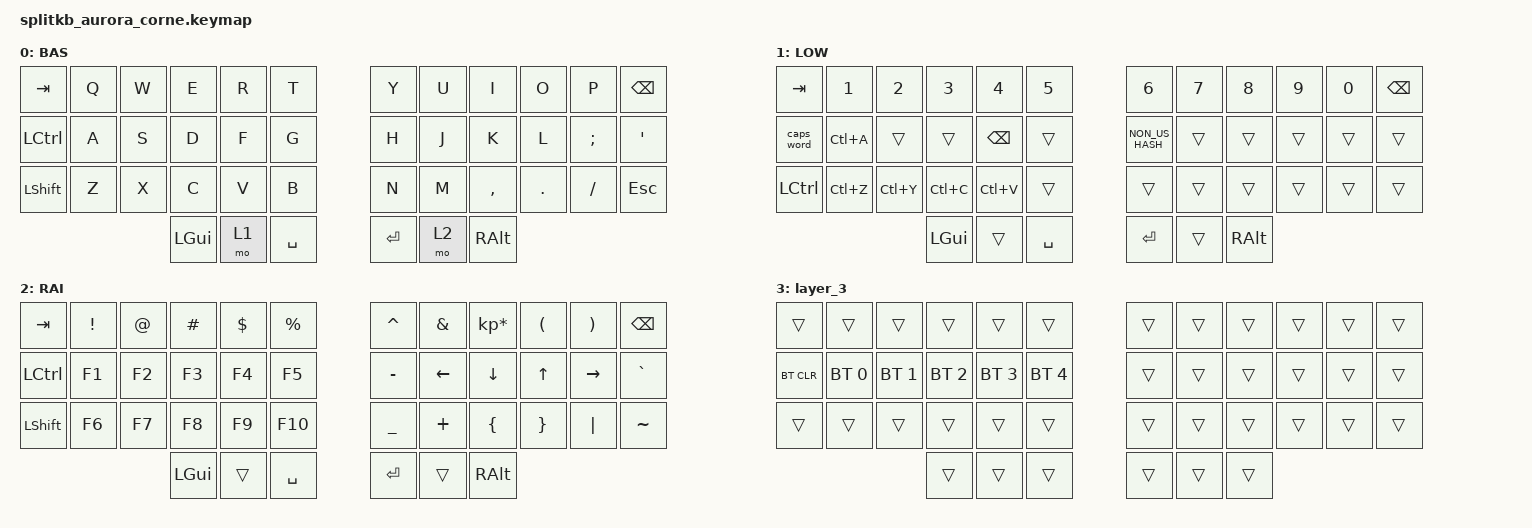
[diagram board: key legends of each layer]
/*
 * Copyright (c) 2020 The ZMK Contributors
 *
 * SPDX-License-Identifier: MIT
 */

#include <dt-bindings/led/led.h>
#include <dt-bindings/zmk/reset.h>
#include <behaviors.dtsi>
#include <dt-bindings/zmk/bt.h>
#include <dt-bindings/zmk/keys.h>

&led_strip { chain-length = <27>; };

/ {
    keymap {
        compatible = "zmk,keymap";

        default_layer {
            display-name = "BAS";

            // -----------------------------------------------------------------------------------------
            // |  TAB |  Q  |  W  |  E  |  R  |  T  |   |  Y  |  U   |  I  |  O  |  P  | BKSP |
            // | CTRL |  A  |  S  |  D  |  F  |  G  |   |  H  |  J   |  K  |  L  |  ;  |  '   |
            // | SHFT |  Z  |  X  |  C  |  V  |  B  |   |  N  |  M   |  ,  |  .  |  /  | ESC  |
            //                    | GUI | LWR | SPC |   | ENT | RSE  | ALT |

            bindings = <
&kp TAB    &kp Q  &kp W  &kp E     &kp R  &kp T        &kp Y    &kp U  &kp I      &kp O    &kp P     &kp BSPC
&kp LCTRL  &kp A  &kp S  &kp D     &kp F  &kp G        &kp H    &kp J  &kp K      &kp L    &kp SEMI  &kp SQT
&kp LSHFT  &kp Z  &kp X  &kp C     &kp V  &kp B        &kp N    &kp M  &kp COMMA  &kp DOT  &kp FSLH  &kp ESC
                         &kp LGUI  &mo 1  &kp SPACE    &kp RET  &mo 2  &kp RALT
            >;
        };

        lower_layer {
            display-name = "LOW";

            // -----------------------------------------------------------------------------------------
            // |  TAB |  1  |  2  |  3  |  4  |  5  |   |  6  |  7  |  8  |  9  |  0  | BKSP |
            // | BTCLR| BT1 | BT2 | BT3 | BT4 | BT5 |   | LFT | DWN |  UP | RGT |     |      |
            // | SHFT |     |     |     |     |     |   |     |     |     |     |     |      |
            //                    | GUI |     | SPC |   | ENT |     | ALT |

            bindings = <
&kp TAB     &kp N1     &kp N2     &kp N3     &kp N4         &kp N5       &kp N6           &kp N7  &kp N8    &kp N9  &kp N0  &kp BSPC
&caps_word  &kp LC(A)  &trans     &trans     &kp BACKSPACE  &trans       &kp NON_US_HASH  &trans  &trans    &trans  &trans  &trans
&kp LCTRL   &kp LC(Z)  &kp LC(Y)  &kp LC(C)  &kp LC(V)      &trans       &trans           &trans  &trans    &trans  &trans  &trans
                                  &kp LGUI   &trans         &kp SPACE    &kp RET          &trans  &kp RALT
            >;
        };

        raise_layer {
            display-name = "RAI";

            // -----------------------------------------------------------------------------------------
            // |  TAB |  !  |  @  |  #  |  $  |  %  |   |  ^  |  &  |  *  |  (  |  )  | BKSP |
            // | CTRL |     |     |     |     |     |   |  -  |  =  |  [  |  ]  |  \  |  `   |
            // | SHFT |     |     |     |     |     |   |  _  |  +  |  {  |  }  | "|" |  ~   |
            //                    | GUI |     | SPC |   | ENT |     | ALT |

            bindings = <
&kp TAB    &kp EXCL  &kp AT  &kp HASH  &kp DLLR  &kp PRCNT    &kp CARET  &kp AMPS  &kp KP_MULTIPLY  &kp LPAR      &kp RPAR   &kp BSPC
&kp LCTRL  &kp F1    &kp F2  &kp F3    &kp F4    &kp F5       &kp MINUS  &kp LEFT  &kp DOWN         &kp UP_ARROW  &kp RIGHT  &kp GRAVE
&kp LSHFT  &kp F6    &kp F7  &kp F8    &kp F9    &kp F10      &kp UNDER  &kp PLUS  &kp LBRC         &kp RBRC      &kp PIPE   &kp TILDE
                             &kp LGUI  &trans    &kp SPACE    &kp RET    &trans    &kp RALT
            >;
        };

        layer_3 {
            bindings = <
&trans      &trans        &trans        &trans        &trans        &trans          &trans  &trans  &trans  &trans  &trans  &trans
&bt BT_CLR  &bt BT_SEL 0  &bt BT_SEL 1  &bt BT_SEL 2  &bt BT_SEL 3  &bt BT_SEL 4    &trans  &trans  &trans  &trans  &trans  &trans
&trans      &trans        &trans        &trans        &trans        &trans          &trans  &trans  &trans  &trans  &trans  &trans
                                        &trans        &trans        &trans          &trans  &trans  &trans
            >;
        };
    };

    conditional_layers {
        compatible = "zmk,conditional-layers";

        Middle {
            if-layers = <1 2>;
            then-layer = <3>;
        };
    };
};
